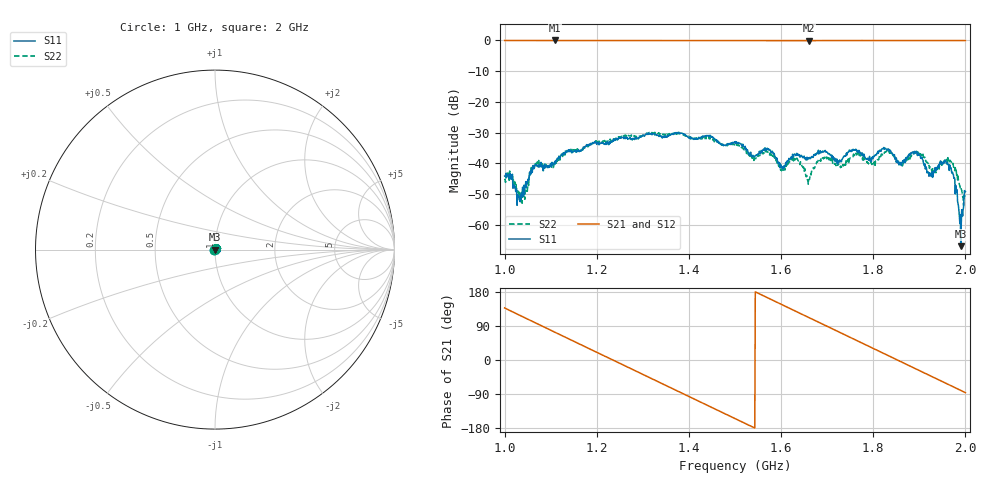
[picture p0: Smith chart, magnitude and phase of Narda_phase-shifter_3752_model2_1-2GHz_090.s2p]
#  HZ  S  DB  R  50.00
! Rohde & Schwarz Vector Network Analyzer
! Rohde-Schwarz,ZNB8-4Port,1311601044102961,2.82
! Created: UTC 1/17/2019, 2:46:15 PM
! freq[Hz]  db:S11  ang:S11  db:S21  ang:S21  db:S12  ang:S12  db:S22  ang:S22
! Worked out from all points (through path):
!   1001 points, 1 GHz to 2 GHz, reference 50 ohm
!   highest |S21| = -0.04 dB at 1.109 GHz (marker M1); lowest = -0.1 dB at 1.661 GHz (marker M2)
!   group delay of S21, straight-line fit = 1.62 ns
!   lowest |S11| = -67.0 dB at 1.99 GHz (marker M3), VSWR 1.00, Z = 50 - j0.00994 ohm
!   |S11| at or under -10 dB: start of sweep to end of sweep
!   |S22| runs from -53.7 to -29.9 dB; largest |S21 - S12| = 0.011
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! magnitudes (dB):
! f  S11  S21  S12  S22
! 1 GHz  -44.2  -0.1  -0.1  -45.5
! 1.032 GHz  -51.9  -0.1  -0.1  -51.3
! 1.064 GHz  -41.7  -0.1  -0.1  -42.1
! 1.109 GHz  -39.4  0.0  -0.1  -40.3
! 1.167 GHz  -35.7  -0.1  -0.1  -35.7
! 1.334 GHz  -31.0  -0.1  -0.1  -30.1
! 1.5 GHz  -33.5  -0.1  -0.1  -34.4
! 1.574 GHz  -35.5  -0.1  -0.1  -36.8
! 1.603 GHz  -41.2  -0.1  -0.1  -41.9
! 1.631 GHz  -37.2  -0.1  -0.1  -38.2
! 1.661 GHz  -38.5  -0.1  -0.1  -45.2
! 1.667 GHz  -37.8  -0.1  -0.1  -42.3
! 1.692 GHz  -36.4  -0.1  -0.1  -38.6
! 1.727 GHz  -38.9  -0.1  -0.1  -40.4
! 1.834 GHz  -35.5  -0.1  -0.1  -36.0
! 1.858 GHz  -39.8  -0.1  -0.1  -39.8
! 1.894 GHz  -36.1  -0.1  -0.1  -36.6
! 1.925 GHz  -43.4  -0.1  -0.1  -41.6
! 1.959 GHz  -40.1  -0.1  -0.1  -39.1
! 1.972 GHz  -42.9  -0.1  -0.1  -40.3
! 1.99 GHz  -67.0  -0.1  -0.1  -47.8
! 2 GHz  -49.2  -0.1  -0.1  -51.4
